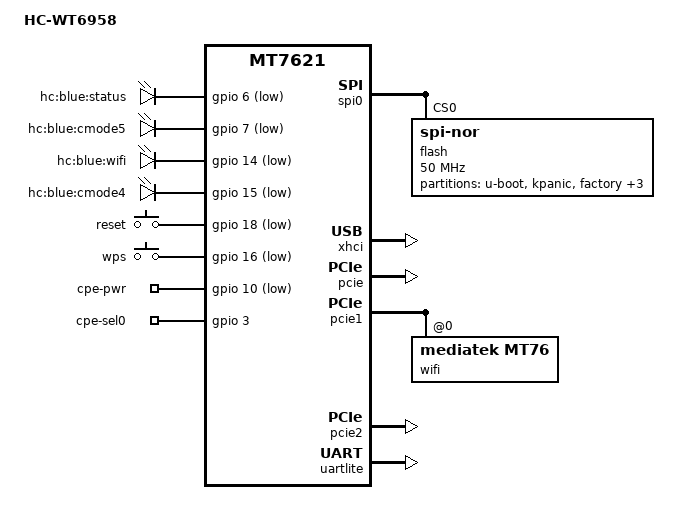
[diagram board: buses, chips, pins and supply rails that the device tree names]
#include "mt7621.dtsi"
#include <dt-bindings/gpio/gpio.h>
#include <dt-bindings/input/input.h>
#include <dt-bindings/leds/common.h>

/ {
	#address-cells = <0x01>;
	#size-cells = <0x01>;
	compatible = "hc,wt6958", "mediatek,mt7621-soc";
	model = "HC-WT6958";

	aliases {
		led-boot = &led_status;
		led-failsafe = &led_status;
		led-running = &led_status;
		led-upgrade = &led_status;
	};

	chosen {
		bootargs = "console=ttyS0,115200";
	};

	leds {
		compatible = "gpio-leds";

		led_status: status {
			label = "hc:blue:status";
			gpios = <&gpio 6 GPIO_ACTIVE_LOW>;
		};

		cmode5 {
			label = "hc:blue:cmode5";
			gpios = <&gpio 7 GPIO_ACTIVE_LOW>;
		};

		wifi {
			label = "hc:blue:wifi";
			gpios = <&gpio 14 GPIO_ACTIVE_LOW>;
		};
		cmode4 {
			label = "hc:blue:cmode4";
			gpios = <&gpio 15 GPIO_ACTIVE_LOW>;
		};


	};

	keys {
		compatible = "gpio-keys";

		reset {
			label = "reset";
			gpios = <&gpio 18 GPIO_ACTIVE_LOW>;
			linux,code = <KEY_RESTART>;
		};

		wps {
			label = "wps";
			gpios = <&gpio 16 GPIO_ACTIVE_LOW>;
			linux,code = <KEY_WPS_BUTTON>;
	};
};

	gpio_export {
		compatible = "gpio-export";
		#size-cells = <0>;

		cpepower {
			gpio-export,name = "cpe-pwr";
			gpio-export,output = <0>;
			gpios = <&gpio 10 GPIO_ACTIVE_LOW>;
		};

		cpesel0 {
			gpio-export,name = "cpe-sel0";
			gpio-export,output = <1>;
			gpios = <&gpio 3 GPIO_ACTIVE_HIGH>;
		};

	};
};

&spi0 {
	status = "okay";

		flash@0 {
		compatible = "jedec,spi-nor";
		reg = <0>;
		spi-max-frequency = <50000000>;
		broken-flash-reset;

		partitions {
			compatible = "fixed-partitions";
			#address-cells = <1>;
			#size-cells = <1>;

			partition@0 {
				label = "u-boot";
				reg = <0x0 0x30000>;
			};

			partition@30000 {
				label = "kpanic";
				reg = <0x30000 0x10000>;
			};

			factory: partition@40000 {
				label = "factory";
				reg = <0x40000 0x10000>;
			};

			partition@50000 {
				compatible = "denx,uimage";
				label = "firmware";
				reg = <0x50000 0x1f90000>;
			};

			partition@1b00000 {
				label = "bdinfo";
				reg = <0x1fe0000 0x10000>;
			};

			partition@1f00000 {
				label = "reserve";
				reg = <0x1ff0000 0x10000>;
			};
		};
	};
};

&switch0 {
	ports {
		port@1 {
			status = "okay";
			label = "wan";
		};

		port@2 {
			status = "okay";
			label = "lan2";
		};

		port@3 {
			status = "okay";
			label = "lan3";
		};

		port@4 {
			status = "okay";
			label = "lan4";
		};
	};
};

&xhci {
	status = "okay";
};

&pcie {
	status = "okay";
};

&pcie1 {
	wifi@0,0 {
		compatible = "mediatek,mt76";
		reg = <0x0000 0 0 0 0>;
		mediatek,mtd-eeprom = <&factory 0x0>;
		mediatek,disable-radar-background;
		mtd-mac-address = <&factory 0x4>;

	};
};

&pcie2 {
		status = "okay";
};

&uartlite {
	status = "okay";
};
				
&state_default {
	gpio {
		groups = "uart2", "uart3", "wdt";
		function = "gpio";
	};
};
